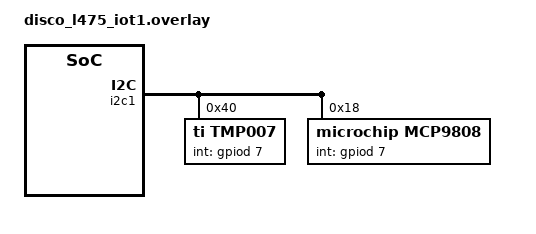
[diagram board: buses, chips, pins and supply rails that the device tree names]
/*
 * Copyright (c) 2019, Linaro Ltd.
 *
 * SPDX-License-Identifier: Apache-2.0
 */

&i2c1 {
	tmp007@40 {
		compatible = "ti,tmp007";
		reg = <0x40>;
		int-gpios = <&gpiod 7 0>;
		label = "TMP007";
	};

	mcp9808@18 {
		compatible = "microchip,mcp9808";
		reg = <0x18>;
		int-gpios = <&gpiod 7 0>;
		label = "MCP9808";
	};
};
